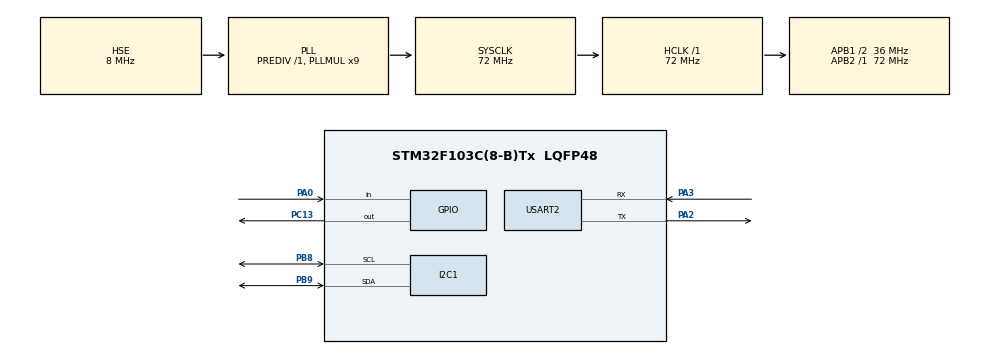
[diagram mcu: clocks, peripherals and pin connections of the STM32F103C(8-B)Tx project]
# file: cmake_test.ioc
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Dma.Request0=USART2_RX
Dma.Request1=USART2_TX
Dma.USART2_RX.0.Direction=DMA_PERIPH_TO_MEMORY
Dma.USART2_RX.0.Instance=DMA1_Channel6
Dma.USART2_RX.0.MemDataAlignment=DMA_MDATAALIGN_BYTE
Dma.USART2_RX.0.MemInc=DMA_MINC_ENABLE
Dma.USART2_RX.0.Mode=DMA_CIRCULAR
Dma.USART2_RX.0.PeriphDataAlignment=DMA_PDATAALIGN_BYTE
Dma.USART2_RX.0.PeriphInc=DMA_PINC_DISABLE
Dma.USART2_RX.0.Priority=DMA_PRIORITY_LOW
Dma.USART2_TX.1.Direction=DMA_MEMORY_TO_PERIPH
Dma.USART2_TX.1.Instance=DMA1_Channel7
Dma.USART2_TX.1.MemDataAlignment=DMA_MDATAALIGN_BYTE
Dma.USART2_TX.1.MemInc=DMA_MINC_ENABLE
Dma.USART2_TX.1.Mode=DMA_CIRCULAR
Dma.USART2_TX.1.PeriphDataAlignment=DMA_PDATAALIGN_BYTE
Dma.USART2_TX.1.PeriphInc=DMA_PINC_DISABLE
Dma.USART2_TX.1.Priority=DMA_PRIORITY_LOW
FREERTOS.Tasks01=defaultTask,24,128,StartDefaultTask,Default,NULL,Dynamic,NULL,NULL;myTask02,8,128,StartTask02,Default,NULL,Dynamic,NULL,NULL
I2C1.I2C_Mode=I2C_Fast
Mcu.Family=STM32F1
Mcu.Name=STM32F103C(8-B)Tx
Mcu.Package=LQFP48
NVIC.DMA1_Channel6_IRQn=true\:5\:0\:false\:false\:true\:true\:false\:true\:true
NVIC.DMA1_Channel7_IRQn=true\:5\:0\:false\:false\:true\:true\:false\:true\:true
NVIC.PriorityGroup=NVIC_PRIORITYGROUP_4
NVIC.TIM4_IRQn=true\:15\:0\:false\:false\:true\:false\:false\:true\:true
NVIC.TimeBase=TIM4_IRQn
NVIC.TimeBaseIP=TIM4
PA0-WKUP.GPIO_PuPd=GPIO_PULLUP
PA0-WKUP.Signal=GPIO_Input
PA13.Mode=Serial_Wire
PA13.Signal=SYS_JTMS-SWDIO
PA14.Mode=Serial_Wire
PA14.Signal=SYS_JTCK-SWCLK
PA2.Mode=Asynchronous
PA2.Signal=USART2_TX
PA3.Mode=Asynchronous
PA3.Signal=USART2_RX
PB8.Mode=I2C
PB8.Signal=I2C1_SCL
PB9.Mode=I2C
PB9.Signal=I2C1_SDA
PC13-TAMPER-RTC.PinState=GPIO_PIN_SET
PC13-TAMPER-RTC.Signal=GPIO_Output
PD0-OSC_IN.Mode=HSE-External-Oscillator
PD0-OSC_IN.Signal=RCC_OSC_IN
PD1-OSC_OUT.Mode=HSE-External-Oscillator
PD1-OSC_OUT.Signal=RCC_OSC_OUT
ProjectManager.HeapSize=0x200
ProjectManager.StackSize=0x400
ProjectManager.TargetToolchain=CMake
RCC.AHBFreq_Value=72000000
RCC.APB1CLKDivider=RCC_HCLK_DIV2
RCC.APB1Freq_Value=36000000
RCC.APB1TimFreq_Value=72000000
RCC.APB2Freq_Value=72000000
RCC.APB2TimFreq_Value=72000000
RCC.HCLKFreq_Value=72000000
RCC.PLLMUL=RCC_PLL_MUL9
RCC.PLLSourceVirtual=RCC_PLLSOURCE_HSE
RCC.SYSCLKFreq_VALUE=72000000
RCC.SYSCLKSource=RCC_SYSCLKSOURCE_PLLCLK
RCC.USBFreq_Value=72000000
USART2.VirtualMode=VM_ASYNC
VP_FREERTOS_VS_CMSIS_V2.Mode=CMSIS_V2
VP_SYS_VS_tim4.Mode=TIM4
board=custom

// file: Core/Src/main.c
/* USER CODE BEGIN Header */
/**
  ******************************************************************************
  * @file           : main.c
  * @brief          : Main program body
  ******************************************************************************
  * @attention
  *
  * Copyright (c) 2025 STMicroelectronics.
  * All rights reserved.
  *
  * This software is licensed under terms that can be found in the LICENSE file
  * in the root directory of this software component.
  * If no LICENSE file comes with this software, it is provided AS-IS.
  *
  ******************************************************************************
  */
/* USER CODE END Header */
#include "main.h"
#include "cmsis_os.h"
#include "dma.h"
#include "i2c.h"
#include "usart.h"
#include "gpio.h"

/* USER CODE BEGIN Includes */
#include "6050data.h"
/* USER CODE END Includes */

void SystemClock_Config(void);
void MX_FREERTOS_Init(void);

int main(void)
{

  /* MCU Configuration--------------------------------------------------------*/

  /* Reset of all peripherals, Initializes the Flash interface and the Systick. */
  HAL_Init();

  /* Configure the system clock */
  SystemClock_Config();

  /* Initialize all configured peripherals */
  MX_GPIO_Init();
  MX_DMA_Init();
  MX_I2C1_Init();
  MX_USART2_UART_Init();

  /* Init scheduler */
  osKernelInitialize();

  /* Call init function for freertos objects (in cmsis_os2.c) */
  MX_FREERTOS_Init();

  /* Start scheduler */
  osKernelStart();

  /* We should never get here as control is now taken by the scheduler */

  /* Infinite loop */
  while (1)
  {

  }
}

void SystemClock_Config(void)
{
  RCC_OscInitTypeDef RCC_OscInitStruct = {0};
  RCC_ClkInitTypeDef RCC_ClkInitStruct = {0};

  /** Initializes the RCC Oscillators according to the specified parameters
  * in the RCC_OscInitTypeDef structure.
  */
  RCC_OscInitStruct.OscillatorType = RCC_OSCILLATORTYPE_HSE;
  RCC_OscInitStruct.HSEState = RCC_HSE_ON;
  RCC_OscInitStruct.HSEPredivValue = RCC_HSE_PREDIV_DIV1;
  RCC_OscInitStruct.HSIState = RCC_HSI_ON;
  RCC_OscInitStruct.PLL.PLLState = RCC_PLL_ON;
  RCC_OscInitStruct.PLL.PLLSource = RCC_PLLSOURCE_HSE;
  RCC_OscInitStruct.PLL.PLLMUL = RCC_PLL_MUL9;
  if (HAL_RCC_OscConfig(&RCC_OscInitStruct) != HAL_OK)
  {
    Error_Handler();
  }

  /** Initializes the CPU, AHB and APB buses clocks
  */
  RCC_ClkInitStruct.ClockType = RCC_CLOCKTYPE_HCLK|RCC_CLOCKTYPE_SYSCLK
                              |RCC_CLOCKTYPE_PCLK1|RCC_CLOCKTYPE_PCLK2;
  RCC_ClkInitStruct.SYSCLKSource = RCC_SYSCLKSOURCE_PLLCLK;
  RCC_ClkInitStruct.AHBCLKDivider = RCC_SYSCLK_DIV1;
  RCC_ClkInitStruct.APB1CLKDivider = RCC_HCLK_DIV2;
  RCC_ClkInitStruct.APB2CLKDivider = RCC_HCLK_DIV1;

  if (HAL_RCC_ClockConfig(&RCC_ClkInitStruct, FLASH_LATENCY_2) != HAL_OK)
  {
    Error_Handler();
  }
}

void HAL_TIM_PeriodElapsedCallback(TIM_HandleTypeDef *htim)
{
  if (htim->Instance == TIM4) {
    HAL_IncTick();
  }
}

void Error_Handler(void)
{
  __disable_irq();
  while (1)
  {
  }
}

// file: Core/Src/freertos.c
/* USER CODE BEGIN Header */
/**
  ******************************************************************************
  * File Name          : freertos.c
  * Description        : Code for freertos applications
  ******************************************************************************
  * @attention
  *
  * Copyright (c) 2025 STMicroelectronics.
  * All rights reserved.
  *
  * This software is licensed under terms that can be found in the LICENSE file
  * in the root directory of this software component.
  * If no LICENSE file comes with this software, it is provided AS-IS.
  *
  ******************************************************************************
  */
/* USER CODE END Header */

#include "FreeRTOS.h"
#include "cmsis_os2.h"
#include "stm32f1xx.h"
#include "stm32f1xx_hal.h"
#include "stm32f1xx_hal_gpio.h"
#include "task.h"
#include "main.h"
#include "cmsis_os.h"

/* USER CODE BEGIN Includes */
#include "6050data.h"
//#include <cstddef>
#include <stdint.h>
/* USER CODE END Includes */

/* Definitions for defaultTask */
osThreadId_t defaultTaskHandle;
const osThreadAttr_t defaultTask_attributes = {
  .name = "defaultTask",
  .stack_size = 128 * 4,
  .priority = (osPriority_t) osPriorityNormal,
};
/* Definitions for myTask02 */
osThreadId_t myTask02Handle;
const osThreadAttr_t myTask02_attributes = {
  .name = "myTask02",
  .stack_size = 128 * 4,
  .priority = (osPriority_t) osPriorityLow,
};

void StartDefaultTask(void *argument);
void StartTask02(void *argument);

void MX_FREERTOS_Init(void); /* (MISRA C 2004 rule 8.1) */

void MX_FREERTOS_Init(void) {

  /* Create the thread(s) */
  /* creation of defaultTask */
  defaultTaskHandle = osThreadNew(StartDefaultTask, NULL, &defaultTask_attributes);

  /* creation of myTask02 */
  myTask02Handle = osThreadNew(StartTask02, NULL, &myTask02_attributes);

}

void StartDefaultTask(void *argument)
{
  /* USER CODE BEGIN StartDefaultTask */
  /* Infinite loop */
  for(;;)
  {
    if(HAL_GPIO_ReadPin(GPIOA,  GPIO_PIN_0) == GPIO_PIN_RESET)
    {
      osDelay(20);
      if(HAL_GPIO_ReadPin(GPIOA,  GPIO_PIN_0) == GPIO_PIN_RESET)
      {
        if(myTask02Handle ==  NULL)
        {
          //osThreadDef(StartTask02 , myTask02Handle , 0, 128);
          //myTask02Handle = osThreadNew(StartTask02, NULL, &myTask02_attributes);//这是v1的创建任务方法

          //xTaskCreate(StartTask02, "myTask02", 128, NULL, osPriorityHigh, &myTask02_attributes);//这是原生FreeRTOS的创建任务方法用不了

          const osThreadAttr_t taskLED1_attributes = {
            .name = "taskLED1",
            .stack_size = 128 * 4,
            .priority = osPriorityNormal,
          };
          myTask02Handle = osThreadNew(StartTask02, NULL, &taskLED1_attributes);//v2的得用这种方法来创建
        }
      }
      else
      {
        vTaskDelete(myTask02Handle);
        myTask02Handle = NULL;
      }
      while (HAL_GPIO_ReadPin(GPIOA,  GPIO_PIN_0) == GPIO_PIN_RESET);
    }
    osDelay(1);
  }
  /* USER CODE END StartDefaultTask */
}

void StartTask02(void *argument)
{
  /* USER CODE BEGIN StartTask02 */
  /* Infinite loop */
  for(;;)
  {
    HAL_GPIO_TogglePin(GPIOC, GPIO_PIN_13);

    osDelay(100);
  }
  /* USER CODE END StartTask02 */
}
